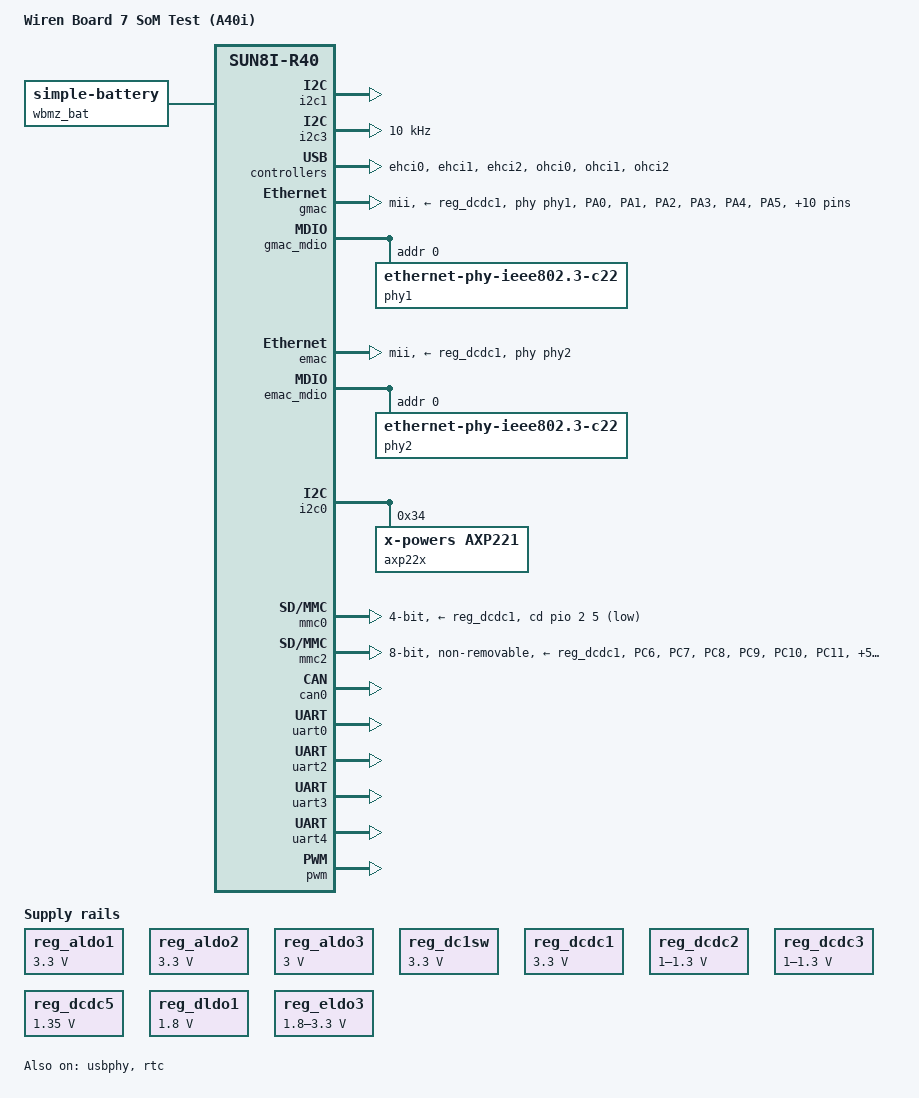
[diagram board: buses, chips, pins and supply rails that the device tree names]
/dts-v1/;
#include "sun8i-r40.dtsi"
#include <dt-bindings/gpio/gpio.h>
#include <dt-bindings/pwm/pwm.h>

#define PIN_PA &pio 0
#define PIN_PB &pio 1
#define PIN_PC &pio 2
#define PIN_PD &pio 3
#define PIN_PE &pio 4
#define PIN_PF &pio 5
#define PIN_PG &pio 6
#define PIN_PH &pio 7
#define PIN_PI &pio 8

/ {
	model = "Wiren Board 7 SoM Test (A40i)";
	compatible = "allwinner,sun8i-r40";

	aliases {
		ethernet0 = &gmac;
		ethernet1 = &emac;
		serial0 = &uart0;
		serial1 = &uart1;
		serial2 = &uart2;
		serial3 = &uart3;
		serial4 = &uart4;
		serial5 = &uart5;
		serial6 = &uart6;
		serial7 = &uart7;
		mmc0 = &mmc2;
		mmc1 = &mmc0;
		rtc0 = &rtc;
	};

	chosen {
		stdout-path = "serial0:115200n8";
	};

	regulators {
		compatible = "simple-bus";
		#address-cells = <1>;
		#size-cells = <0>;

		/* Wi-Fi on SoM */
		som_wifi_pwrseq: som_wifi_pwrseq {
			compatible = "mmc-pwrseq-simple";
			reset-gpios = <PIN_PC 3 GPIO_ACTIVE_LOW>; /* PC3*/
			// clocks = <&ccu CLK_OUTA>;
			// clock-names = "ext_clock";
		};
	};

	/* eMMC reset */
	emmc_pwrseq: emmc_pwrseq {
		compatible = "mmc-pwrseq-emmc";
		reset-gpios = <PIN_PC 24 GPIO_ACTIVE_LOW>;
	};

	wbmz_bat: wbmz-bat {
		compatible = "simple-battery";
		constant-charge-current-max-microamp = <600000>;
		voltage-min-design-microvolt = <2600000>;
		constant-charge-voltage-max-microvolt = <4100000>;
		status = "okay";
	};
};


&i2c1 {
	status = "okay";
};

&i2c3 {
	status = "okay";
	clock-frequency = <10000>;
};

&i2c3_pins {
	bias-pull-up;
};

&pio {
	/*input-debounce = <1>;*/
	vcc-pa-supply = <&reg_dcdc1>; //ok
	// vcc-pb-supply = <&reg_dcdc1>; /* VCC-IO */
	vcc-pc-supply = <&reg_aldo2>; /* eMMC, SoM wi-fi gpios*/
	vcc-pd-supply = <&reg_dcdc1>; //ok 
	vcc-pe-supply = <&reg_eldo3>; //ok
	vcc-pf-supply = <&reg_dcdc1>; //ok
	vcc-pg-supply = <&reg_dcdc1>; // microSD 3v3!!
	vcc-ph-supply = <&reg_dcdc1>; // VCC-IO
	vcc-pi-supply = <&reg_dcdc1>;// VCC-IO

	gpio-line-names =
		/* PA */
		"SOM ETH1 RXD3", "SOM ETH1 RXD2", "SOM ETH1 RXD1", "SOM ETH1 RXD0", /*  0 - 3 */
		"SOM ETH1 TXD3", "SOM ETH1 TXD2", "SOM ETH1 TXD1", "SOM ETH1 TXD0", /*  4 - 7 */
		"SOM ETH1 RXCK", "SOM ETH1 RXERR", "SOM ETH1 RXDV", "SOM ETH1 MDC", /*  8 - 11 */
		"SOM ETH1 MDIO", "SOM ETH1 TXEN", "SOM ETH1 TXCK", "SOM ETH1 CRS", /* 12 - 15 */
		"CAN TX", "CAN RX", "", "", /* 16 - 19 */
		"", "", "", "", /* 20 - 23 */
		"", "", "", "", /* 24 - 27 */
		"", "", "", "", /* 28 - 31 */
		/* PB */
		"SOM PMIC SCL", "SOM PMIC SDA", "", "", /*  0 - 3 */
		"", "SODIMM:111 [NC]", "SODIMM:113 [NC]", "SODIMM:121 [NC]", /*  4 - 7 */
		"SODIMM:123 [NC]", "", "", "[NC]", /*  8 - 11 */
		"SODIMM:125 [NC]", "", "", "", /* 12 - 15 */
		"", "", "", "", /* 16 - 19 */
		"SODIMM:52 [NC]", "SODIMM:50 [NC]", "DEBUG UART TX", "DEBUG UART RX", /* 20 - 23 */
		"", "", "", "", /* 24 - 27 */
		"", "", "", "", /* 28 - 31 */
		/* PC */
		"", "", "", "SOM WI-FI ON", /*  0 - 3 */
		"SOM BT ON", "MICROSD CD", "SOM EMMC CMD", "SOM EMMC CLK", /*  4 - 7 */
		"SOM EMMC D0", "SOM EMMC D1", "SOM EMMC D2", "SOM EMMC D3", /*  8 - 11 */
		"SOM EMMC D4", "SOM EMMC D5", "SOM EMMC D6", "SOM EMMC D7", /* 12 - 15 */
		"SOM WI-FI HOST_WAKE", "SOM BT WAKE", "SOM BT HOST_WAKE", "", /* 16 - 19 */
		"", "", "SODIMM:16 [NC]", "", /* 20 - 23 */
		"SOM EMMC RST", "", "", "", /* 24 - 27 */
		"", "", "", "", /* 28 - 31 */
		/* PD */
		"LVDS D0 P", "LVDS D0 N", "LVDS D1 P", "LVDS D1 N", /*  0 - 3 */
		"LVDS D2 P", "LVDS D2 N", "LVDS DCK P", "LVDS DCK N", /*  4 - 7 */
		"LVDS D3 P", "LVDS D3 N", "", "", /*  8 - 11 */
		"", "", "", "[NC]", /* 12 - 15 */
		"[NC]", "[NC]", "[NC]", "", /* 16 - 19 */
		"USB0 ID", "", "[NC]", "[NC]", /* 20 - 23 */
		"", "", "", "", /* 24 - 27 */
		"", "", "", "", /* 28 - 31 */
		/* PE */
		"", "", "", "",  /*  0 - 3 */
		"SODIMM:79 [NC]", "", "", "", /*  4 - 7 */
		"", "[NC]", "", "", /*  8 - 11 */
		"", "", "", "", /* 12 - 15 */
		"", "", "", "", /* 16 - 19 */
		"", "", "", "", /* 20 - 23 */
		"", "", "", "", /* 24 - 27 */
		"", "", "", "", /* 28 - 31 */
		/* PF */
		"MICROSD D1", "MICROSD D0", "MICROSD CLK", "MICROSD CMD", /*  0 - 3 */
		"MICROSD D3", "MICROSD D2", "", "", /*  4 - 7 */
		"", "", "", "", /*  8 - 11 */
		"", "", "", "", /* 12 - 15 */
		"", "", "", "", /* 16 - 19 */
		"", "", "", "", /* 20 - 23 */
		"", "", "", "", /* 24 - 27 */
		"", "", "", "", /* 28 - 31 */
		/* PG */
		"SOM WI-FI CMD", "SOM WI-FI CLK", "SOM WI-FI D0", "SOM WI-FI D1", /*  0 - 3 */
		"SOM WI-FI D2", "SOM WI-FI D3", "SOM BT TX", "SOM BT RX", /*  4 - 7 */
		"SOM BT RESERVED", "SOM BT RESERVED", "", "", /*  8 - 11 */
		"", "", "", "", /* 12 - 15 */
		"", "", "", "", /* 16 - 19 */
		"", "", "", "", /* 20 - 23 */
		"", "", "", "", /* 24 - 27 */
		"", "", "", "", /* 28 - 31 */
		/* PH PH0-PH21 interrupts*/
		"", "", "", "", /*  0 - 3 */
		"", "", "", "", //*  4 - 7 */
		"SOM ETH0 RXD3", "SOM ETH0 RXD2", "SOM ETH0 RXD1", "SOM ETH0 RXD0", /*  8 - 11 */
		"SOM ETH0 RST", "SOM ETH1 RST", "SOM ETH0 TXD3", "SOM ETH0 TXD2", /* 12 - 15 */
		"SOM ETH0 TXD1", "SOM ETH0 TXD0", "SOM ETH0 RXCK", "SOM ETH0 RXERR", /* 16 - 19 */
		"SOM ETH0 RXDV", "SOM ETH0 MDC", "SOM ETH0 MDIO", "SOM ETH0 TXEN", /* 20 - 23 */
		"SOM ETH0 TXCK", "SOM ETH0 CRS", "SOM ETH0 COL", "SPM LCD BACKLIGHT ON", /* 24 - 27 */
		"", "", "", "", /* 28 - 31 */
		/* PI*/
		"", "", "SODIMM: 76 [NC]", "[NC]", /*  0 - 3 */
		"SODIMM: 75 [NC]", "SODIMM: 77 [NC]", "SODIMM: 79 [NC]", "SODIMM: 81 [NC]", /*  4 - 7 */
		"SODIMM: 83 [NC]", "SODIMM: 85 [NC]", "", "", /*  8 - 11 */
		"", "", "", "W2", /* 12 - 15 */
		"", "", "", "", /* 16 - 19 */
		"", "", "", "", /* 20 - 23 */
		"", "", "", "", /* 24 - 27 */
		"", "", "", ""; /* 28 - 31 */


    	/* w/o ECOL and ETXERR */
    	gmac_mii_pins_reduced: gmac-mii-pins-reduced {
		pins = "PA0", "PA1", "PA2", "PA3",
			"PA4", "PA5", "PA6", "PA7",
			"PA8", "PA9", "PA10", "PA11", "PA12",
			"PA13", "PA14", "PA15";
		drive-strength = <40>;

		function = "gmac";
	};
	/* eMMC */
	mmc2_pins_wo_carddet: mmc2-pins {
		pins = "PC6", "PC7", "PC8", "PC9",
			"PC10", "PC11", "PC12", "PC13", "PC14",
			"PC15", "PC24";
		function = "mmc2";
		drive-strength = <40>;
		bias-pull-up;
	};
};

&cpu0 {
	cpu-supply = <&reg_dcdc2>;
};


/* Enable USB ports (FS and HS controllers) */
&ehci0 {
	status = "okay";
};

&ehci1 {
	status = "okay";
};

&ehci2 {
	status = "okay";
};


&ohci0 {
	status = "okay";
};

&ohci1 {
	status = "okay";
};

&ohci2 {
	status = "okay";
};

&usbphy {
	usb0_vbus-supply = <&reg_dcdc1>;
	usb1_vbus-supply = <&reg_dcdc1>;
	usb2_vbus-supply = <&reg_dcdc1>;
	status = "okay";
};

/* Ethernet ports */
&gmac {
	pinctrl-names = "default";
	pinctrl-0 = <&gmac_mii_pins_reduced>;
	phy-handle = <&phy1>;
	phy-mode = "mii";
	phy-supply = <&reg_dcdc1>;
	status = "okay";
};


&gmac_mdio {
	phy1: ethernet-phy@0 {
		compatible = "ethernet-phy-ieee802.3-c22";
		reg = <0>;
		reset-gpios = <PIN_PH 13 GPIO_ACTIVE_LOW>; /* PH13 */
		reset-assert-us = <10000>;
		reset-deassert-us = <100000>;
		icplus,select-rx-error;
		status = "okay";
	};
};

&emac {
	pinctrl-names = "default";
	pinctrl-0 = <&emac_ph_pins>;
	phy-handle = <&phy2>;
	phy-mode = "mii";
	phy-supply = <&reg_dcdc1>;
	status = "okay";
};

&emac_mdio {
	status = "okay";
	phy2: ethernet-phy@0 {
		compatible = "ethernet-phy-ieee802.3-c22";
		reg = <0>;
		reset-gpios = <PIN_PH 12 GPIO_ACTIVE_LOW>; /* PH12 */
		reset-assert-us = <10000>;
		reset-deassert-us = <100000>;
		icplus,select-rx-error;
		status = "okay";
	};
};

/* System power */

&i2c0 {
	status = "okay";

	axp22x: pmic@34 {
		compatible = "x-powers,axp221";
		reg = <0x34>;
		interrupt-parent = <&nmi_intc>;
		interrupts = <0 IRQ_TYPE_LEVEL_LOW>;
	};
};


#include "axp22x.dtsi"

/* ALDO1: 0.7V~3.3V, 300 mA, default: OFF */
/* CPU: VCC-TVIN, VCC-TVOUT */
&reg_aldo1 {
	regulator-min-microvolt = <3300000>;
	regulator-max-microvolt = <3300000>;
	regulator-name = "tv";
};


/* ALDO2: 0.7V~3.3V, 300mA, default: 1.8V */
/* eMMC VDDQ (optional), VCC-PC*/
&reg_aldo2 {
	regulator-min-microvolt = <3300000>;
	regulator-max-microvolt = <3300000>;
	regulator-init-microvolt = <3300000>;
	regulator-name = "aldo2";
};

/* ALDO3: 0.7V~3.3V, 200 mA, default: 3.0 V */
/* VCC-PLL и AVCC */
&reg_aldo3 {
	regulator-always-on;
	regulator-min-microvolt = <3000000>;
	regulator-max-microvolt = <3000000>;
	regulator-init-microvolt = <3000000>;
	regulator-name = "avcc-pll";
};

/* DC1SW Switch, 400 mA, 100mOhm, default: OFF */
&reg_dc1sw {
	regulator-min-microvolt = <3300000>;
	regulator-max-microvolt = <3300000>;
	regulator-name = "vcc-gmac-phy";
};

/* DCDC1: 1.6V~3.4V, 1400 mA, default: 3.3V
   VCC-IO процессора
   ref: eFUSE, microSD, PD, PA, DSI, HDMI, HP
   eMMC, eth phy
   3.3V для периферии на основной плате WB
*/
&reg_dcdc1 {
	regulator-always-on;
	regulator-min-microvolt = <3300000>;
	regulator-max-microvolt = <3300000>;
	regulator-name = "vcc-3v3";
};

/* DCDC2: 0.6V~1.54V, 2500 mA, default: 1.1 V */
/* CPU core vdd-cpu */
&reg_dcdc2 {
	regulator-always-on;
	regulator-min-microvolt = <1000000>;
	regulator-max-microvolt = <1300000>;
	regulator-name = "vdd-cpu";
};

/* CPU vdd-sys */
/* DCDC3: 0.6V~1.86V, 2500 mA, default: 1.1 V */
&reg_dcdc3 {
	regulator-always-on;
	regulator-min-microvolt = <1000000>;
	regulator-max-microvolt = <1300000>;
	regulator-name = "vdd-sys";
};

/* DCDC4: 0.6V~1.54V, 600mA, default: 1.1 V */
/* unused */

/* DCDC5: 1.0V~2.55V, 2000 mA, default: 1.5/DC5SET V */
/* DRAM */
&reg_dcdc5 {
	regulator-always-on;
	regulator-min-microvolt = <1350000>;
	regulator-max-microvolt = <1350000>;
	regulator-name = "vcc-dram";
};

/* DLDO1: 0.7V~3.3V, 400 mA, default: OFF */
/* in: 5V/4V (PS).
   microSD reference voltage (internal)
*/
&reg_dldo1 {
	regulator-min-microvolt = <1800000>;
	regulator-max-microvolt = <1800000>;
	regulator-name = "vcc-sd-alt";
	regulator-always-on;
};

/* ELDO3: 0.7V~3.3V, 200 mA, default: OFF */
/* ref. VCC-PE */
&reg_eldo3 {
	regulator-min-microvolt = <1800000>;
	regulator-max-microvolt = <3300000>;
	regulator-init-microvolt = <3300000>;
	regulator-always-on;
	regulator-name = "vcc-pe";
};

/* Unused: */
	/* DLDO2: 0.7V~3.3V, 200 mA, default: OFF */
	/* DLDO3: 0.7V~3.3V, 200 mA, default: OFF */
	/* DLDO4: 0.7V~3.3V, 100 mA, default: OFF */
	/* ELDO1: 0.7V~3.3V, 400 mA, default: OFF */
	/* ELDO2: 0.7V~3.3V, 200 mA, default: OFF */



/* DC5LDO: 0.7V~1.4V, 200 mA, default: 1.1V */
/* xxx: xxx V~xxxx V, xxxx mA, default: OFF */


&battery_power_supply {
    status = "okay";
    monitored-battery = <&wbmz_bat>;
};

/* microSD */
&mmc0 {

//	vmmc-supply = <&reg_dcdc1>;
	bus-width = <4>;
	cd-gpios = <&pio 2 5 GPIO_ACTIVE_LOW>; /* pc5 */
	status = "okay";

	vqmmc-supply = <&reg_dcdc1>;
	vmmc-supply = <&reg_dcdc1>;

	// vqmmc-supply = <&reg_dldo1>;
	// vmmc-supply = <&reg_dldo1>;
	// sd-uhs-sdr12;
	// sd-uhs-sdr25;
	// sd-uhs-sdr50;
	// sd-uhs-sdr104;
	no-1-8-v;
	// cap-sd-highspeed;

};


&mmc2 {
	pinctrl-0 = <&mmc2_pins_wo_carddet>;
	vmmc-supply = <&reg_dcdc1>;
	vqmmc-supply = <&reg_aldo2>;
	mmc-pwrseq = <&emmc_pwrseq>;
	bus-width = <8>;
	non-removable;
	no-1-8-v;
	status = "okay";
	clock-frequency = <52000000>;

};

/* Wi-Fi on SoM */
&mmc1 {
	pinctrl-names = "default";
	pinctrl-0 = <&mmc1_pg_pins>;
	vmmc-supply = <&reg_dcdc1>;
	vqmmc-supply = <&reg_dcdc1>; //fixme
	mmc-pwrseq = <&som_wifi_pwrseq>;
	bus-width = <4>;
	non-removable;
	status = "disabled";
};


/* CAN bus */
&can0 {
	status = "okay";
	pinctrl-names = "default";
	pinctrl-0 = <&can_pa_pins>;
};


/* Debug UART */
&uart0 {
	pinctrl-names = "default";
	pinctrl-0 = <&uart0_pb_pins>;
	status = "okay";
};

/* UARTs */
&uart2 { 
	pinctrl-names = "default";
	pinctrl-0 = <&uart2_pi_pins>;
	status = "okay";
};

&uart3 { 
	pinctrl-0 = <&uart3_pg_pins>;
	pinctrl-names = "default";
	status = "okay";
};

&uart4 {
	status = "okay";

};

&uart6 {
	status = "disabled";
};

&uart5 {
	status = "disabled";
};

&uart7 {
	pinctrl-0 = <&uart7_pi_pins>;
	pinctrl-names = "default";
	status = "disabled";
};

&usb_otg {
	status = "disabled";
};

/* CPU RTC is useless since it doesn't have separate power supply. However we must keep it on to get proper LOSC for the rest of SoC.*/
&rtc {
	status = "okay";
};

&pwm {
	status = "okay";
};
